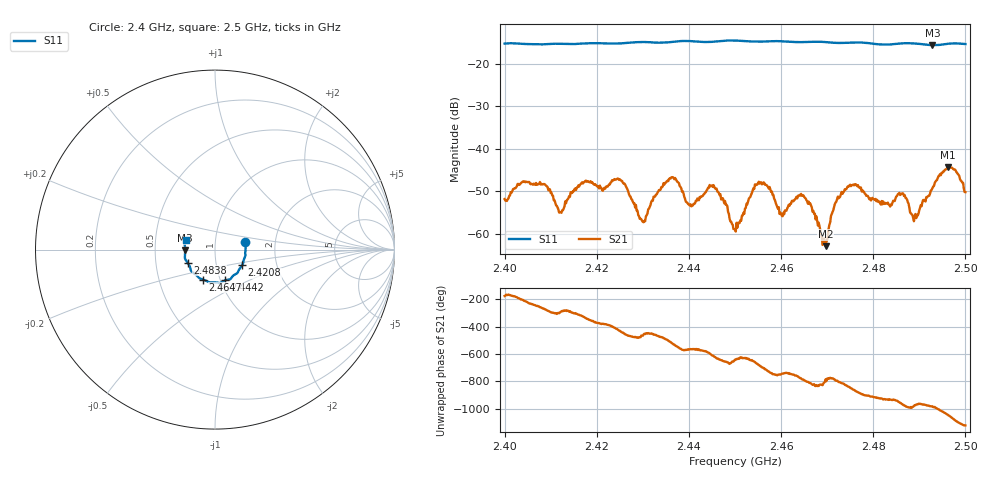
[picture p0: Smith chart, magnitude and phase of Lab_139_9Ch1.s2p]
# Hz S RI R 50
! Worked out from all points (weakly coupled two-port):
!   601 points, 2.4 GHz to 2.5 GHz, reference 50 ohm
!   highest |S21| = -44.37 dB at 2.4962 GHz (marker M1); lowest = -62.9 dB at 2.4697 GHz (marker M2)
!   lowest |S11| = -15.6 dB at 2.4928 GHz (marker M3), VSWR 1.40, Z = 35.8 - j0.342 ohm
!   |S11| at or under -10 dB: start of sweep to end of sweep
!   S12 and S22 are empty: the file has one direction only
!   S11 on the Smith chart (normalised r, x): 2.4 GHz: 1.40, +0.12; 2.4208 GHz: 1.33, -0.24; 2.4442 GHz: 1.05, -0.37; 2.4647 GHz: 0.83, -0.29; 2.4838 GHz: 0.73, -0.11; 2.5 GHz: 0.72, +0.08
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2.4e9  0.1679 0.0409  -0.00256 -0.000119  0 0  0 0
2.408167e9  0.1684 -0.0179  -0.000261 0.00379  0 0  0 0
2.412167e9  0.1672 -0.0397  0.000697 0.00165  0 0  0 0
2.416667e9  0.1589 -0.068  0.00304 0.0025  0 0  0 0
2.420833e9  0.1507 -0.0874  0.0033 -0.00111  0 0  0 0
2.425167e9  0.1352 -0.1091  0.00105 -0.00413  0 0  0 0
2.43e9  0.1245 -0.1303  -0.000397 -0.00132  0 0  0 0
2.433333e9  0.1078 -0.1404  -0.00106 -0.00294  0 0  0 0
2.444167e9  0.0568 -0.1712  -0.00224 0.00267  0 0  0 0
2.45e9  0.0246 -0.1864  0.000228 0.00111  0 0  0 0
2.454833e9  -0.00564 -0.1822  0.00251 0.00285  0 0  0 0
2.460167e9  -0.0362 -0.1803  0.00148 -0.000677  0 0  0 0
2.464667e9  -0.0672 -0.1669  0.00112 -0.00257  0 0  0 0
2.466667e9  -0.08 -0.1627  -0.000391 -0.00201  0 0  0 0
2.469667e9  -0.0921 -0.1547  0.000305 -0.000647  0 0  0 0
2.474833e9  -0.1211 -0.1294  -0.00202 -0.0031  0 0  0 0
2.483333e9  -0.1503 -0.0762  -0.0018 0.00129  0 0  0 0
2.483833e9  -0.1531 -0.072  -0.00183 0.00124  0 0  0 0
2.489167e9  -0.1679 -0.0423  -0.000451 0.00165  0 0  0 0
2.492833e9  -0.1657 -0.00465  -0.000445 0.00342  0 0  0 0
2.496167e9  -0.1697 0.0268  0.00487 0.00358  0 0  0 0
2.5e9  -0.1624 0.0528  0.00228 -0.00207  0 0  0 0
